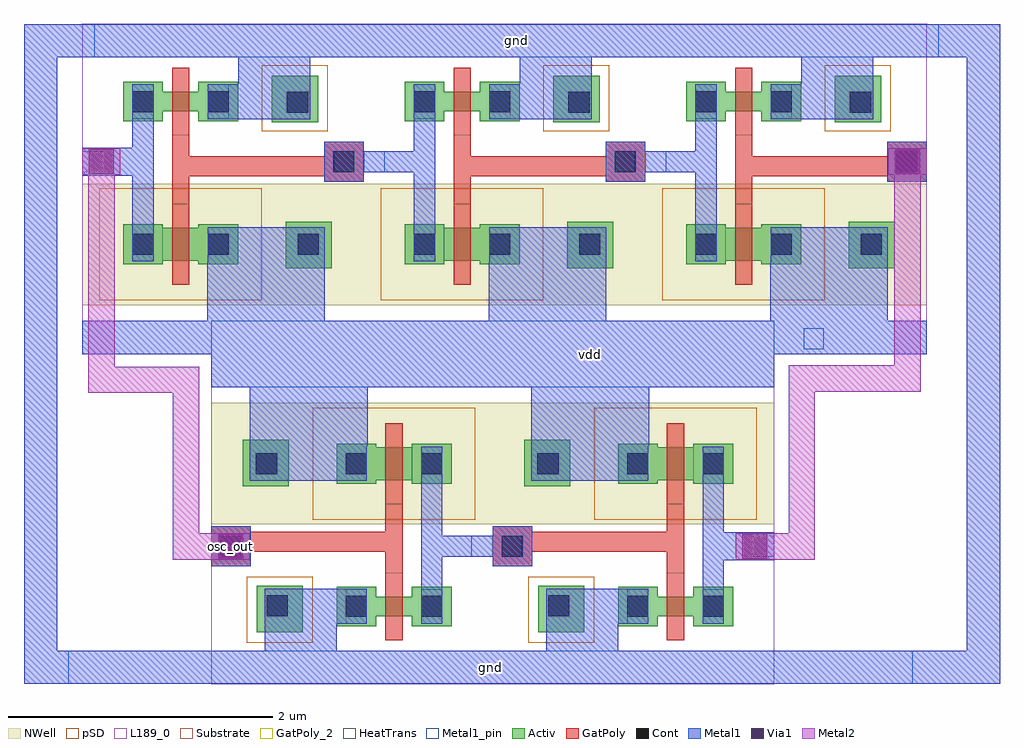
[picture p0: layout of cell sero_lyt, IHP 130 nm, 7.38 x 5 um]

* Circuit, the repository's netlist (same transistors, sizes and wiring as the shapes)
* Extracted by KLayout with SG13G2 LVS runset on : 19/07/2026 10:40

.SUBCKT sero_lyt
X$1 gnd vdd osc_out \$I16 inverter
X$2 gnd vdd \$I16 \$I15 inverter
X$3 gnd vdd \$I15 \$6 inverter
X$4 gnd vdd \$6 \$10 inverter
X$5 gnd vdd \$10 osc_out inverter
.ENDS sero_lyt

.SUBCKT inverter gnd vdd vout vin
X$1 vdd vout vin vdd pmos
X$2 gnd vout gnd vin nmos
.ENDS inverter

.SUBCKT nmos \$1 \$2 \$3 \$5
M$1 \$1 \$5 \$2 \$3 sg13_lv_nmos L=0.13u W=0.15u AS=0.1005p AD=0.1005p PS=1.34u
+ PD=1.34u rfmode=0
.ENDS nmos

.SUBCKT pmos \$1 \$2 \$3 \$4
M$1 \$1 \$3 \$2 \$4 sg13_lv_pmos L=0.13u W=0.25u AS=0.1075p AD=0.1075p PS=1.34u
+ PD=1.34u rfmode=0
.ENDS pmos

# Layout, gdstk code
from math import pi, radians
import gdstk
lib = gdstk.Library(unit=1e-6, precision=5e-09)
def R(c, l, rs):  # rectangles x0, y0, x1, y1
    for r in rs: c.add(gdstk.rectangle(r[:2], r[2:], *l))
Activ = (1, 0)
GatPoly = (5, 0)
GatPoly_2 = (5, 2)
Cont = (6, 0)
Metal1 = (8, 0)
Metal1_pin = (8, 2)
Metal2 = (10, 0)
pSD = (14, 0)
Via1 = (19, 0)
NWell = (31, 0)
Substrate = (40, 0)
HeatTrans = (51, 0)
L189_0 = (189, 0)

pmos = lib.new_cell('pmos')
R(pmos, Activ, [(0,0,0.3,0.3), (0.57,0,0.87,0.3), (0,0.025,0.87,0.275)])
R(pmos, GatPoly, [(0.37,-0.155,0.5,0.455), (0.37,-0.155,0.5,0.455)])
R(pmos, Cont, [(0.07,0.07,0.23,0.23), (0.64,0.07,0.8,0.23)])
R(pmos, Metal1, [(0.07,0.02,0.23,0.28), (0.07,0.02,0.23,0.28), (0.64,0.02,0.8,0.28), (0.64,0.02,0.8,0.28)])
R(pmos, pSD, [(-0.18,-0.275,1.05,0.575)])
R(pmos, NWell, [(-0.31,-0.31,1.18,0.61)])
R(pmos, Substrate, [(0.57,0,0.87,0.3)])
R(pmos, HeatTrans, [(0.37,-0.155,0.5,0.455)])
pmos.add(gdstk.Label('pmos', (0.435,0.15), layer=63, texttype=0))
pmos.add(gdstk.Label('pmos', (0.435,0.15), layer=51, texttype=0))

nmos = lib.new_cell('nmos')
R(nmos, Activ, [(0,0,0.3,0.3), (0.57,0,0.87,0.3), (0,0.075,0.87,0.225)])
R(nmos, GatPoly, [(0.37,-0.105,0.5,0.405)])
R(nmos, GatPoly_2, [(0.37,-0.105,0.5,0.405)])
R(nmos, Cont, [(0.07,0.07,0.23,0.23), (0.64,0.07,0.8,0.23)])
R(nmos, Metal1, [(0.07,0.02,0.23,0.28), (0.64,0.02,0.8,0.28)])
R(nmos, Metal1_pin, [(0.07,0.02,0.23,0.28), (0.64,0.02,0.8,0.28)])
R(nmos, HeatTrans, [(0.37,-0.105,0.5,0.405)])
nmos.add(gdstk.Label('nmos', (0.435,0.15), layer=63, texttype=0))
nmos.add(gdstk.Label('nmos', (0.435,0.15), layer=51, texttype=0))

via_stack = lib.new_cell('via_stack')
R(via_stack, GatPoly, [(-0.15,-0.15,0.15,0.15)])
R(via_stack, Cont, [(-0.08,-0.08,0.08,0.08)])
R(via_stack, Metal1, [(-0.13,-0.08,0.13,0.08)])

inverter = lib.new_cell('inverter')
R(inverter, Activ, [(0.345,0.395,0.695,0.745), (0.24,1.5,0.59,1.85)])
R(inverter, GatPoly, [(1.32,0.845,1.45,1.365), (0.3,1.005,1.32,1.155)])
R(inverter, Cont, [(0.42,0.515,0.58,0.675), (0.34,1.59,0.5,1.75)])
R(inverter, Metal1, [(0,0.005,2.13,0.255), (0.405,0.255,0.95,0.46), (0.405,0.46,0.595,0.725), (0.405,0.46,1.18,0.725), (1.59,0.72,1.75,1.54), (0,0.895,0.3,1.195), (1.59,0.965,2.13,1.125), (0.295,1.54,1.18,1.805), (0.325,1.54,0.515,1.805), (0.295,1.805,1.185,2.25), (0,2.25,2.13,2.5)])
R(inverter, Metal1_pin, [(0.975,0.04,1.135,0.2), (0.075,0.965,0.225,1.125), (1.97,0.965,2.13,1.125), (0.78,2.305,0.93,2.465)])
R(inverter, pSD, [(0.27,0.315,0.77,0.815)])
R(inverter, NWell, [(0,1.21,0.64,2.13)])
R(inverter, L189_0, [(0,0,2.13,2.5)])
inverter.add(gdstk.Reference(pmos, (0.95,1.52)))
inverter.add(gdstk.Reference(nmos, (0.95,0.44)))
inverter.add(gdstk.Reference(via_stack, (0.15,1.045)))
inverter.add(gdstk.Label('vdd', (0.855,2.385), layer=8, texttype=25))
inverter.add(gdstk.Label('vout', (2.05,1.045), layer=8, texttype=25))
inverter.add(gdstk.Label('vin', (0.15,1.045), layer=8, texttype=25))
inverter.add(gdstk.Label('gnd', (1.055,0.12), layer=8, texttype=25))

via_stack_2 = lib.new_cell('via_stack$2')
R(via_stack_2, Metal1, [(-0.145,-0.105,0.145,0.105)])
R(via_stack_2, Metal2, [(-0.145,-0.1,0.145,0.1)])
R(via_stack_2, Via1, [(-0.095,-0.095,0.095,0.095)])

sero_lyt = lib.new_cell('sero_lyt')
R(sero_lyt, Metal1, [(6.705,0.94,6.795,1.15), (4.955,0.965,5.255,1.125), (2.14,3.85,2.23,4.06)])
R(sero_lyt, Metal1_pin, [(1.745,0.005,8.135,0.255), (2.87,0.945,3.07,1.145), (2.825,2.25,7.085,2.75), (1.94,4.745,8.33,4.995)])
sero_lyt.add(gdstk.FlexPath([(1.85,4.87),(1.535,4.87),(1.535,0.13),(2.88,0.13)], 0.25, ends=(0.26, 0.16), simple_path=True, layer=8, datatype=0))  # Metal1
sero_lyt.add(gdstk.FlexPath([(7.085,0.13),(8.67,0.13),(8.67,4.87),(8.24,4.87)], 0.25, ends=(0.26, 0.16), simple_path=True, layer=8, datatype=0))  # Metal1
sero_lyt.add(gdstk.FlexPath([(1.995,3.855),(1.995,2.305),(2.635,2.305),(2.635,1.045),(3.12,1.045)], 0.2, ends="flush", simple_path=True, layer=10, datatype=0))  # Metal2
sero_lyt.add(gdstk.FlexPath([(8.095,3.855),(8.095,2.315),(7.295,2.315),(7.295,1.045),(6.795,1.045)], 0.2, ends="flush", simple_path=True, layer=10, datatype=0))  # Metal2
sero_lyt.add(gdstk.Reference(inverter, (2.825,0)))
sero_lyt.add(gdstk.Reference(inverter, (4.955,0)))
sero_lyt.add(gdstk.Reference(inverter, (8.24,5), rotation=pi))
sero_lyt.add(gdstk.Reference(inverter, (6.11,5), rotation=pi))
sero_lyt.add(gdstk.Reference(inverter, (3.98,5), rotation=pi))
sero_lyt.add(gdstk.Reference(via_stack_2, (1.995,3.955)))
sero_lyt.add(gdstk.Reference(via_stack_2, (6.94,1.045)))
sero_lyt.add(gdstk.Reference(via_stack_2, (8.095,3.955)))
sero_lyt.add(gdstk.Reference(via_stack_2, (2.975,1.045)))
sero_lyt.add(gdstk.Label('vdd', (5.7,2.5), layer=8, texttype=25))
sero_lyt.add(gdstk.Label('gnd', (4.94,0.13), layer=8, texttype=25))
sero_lyt.add(gdstk.Label('gnd', (5.135,4.875), layer=8, texttype=25))
sero_lyt.add(gdstk.Label('osc_out', (2.97,1.045), layer=8, texttype=25))

lib.write_gds('sero_lyt.gds')
